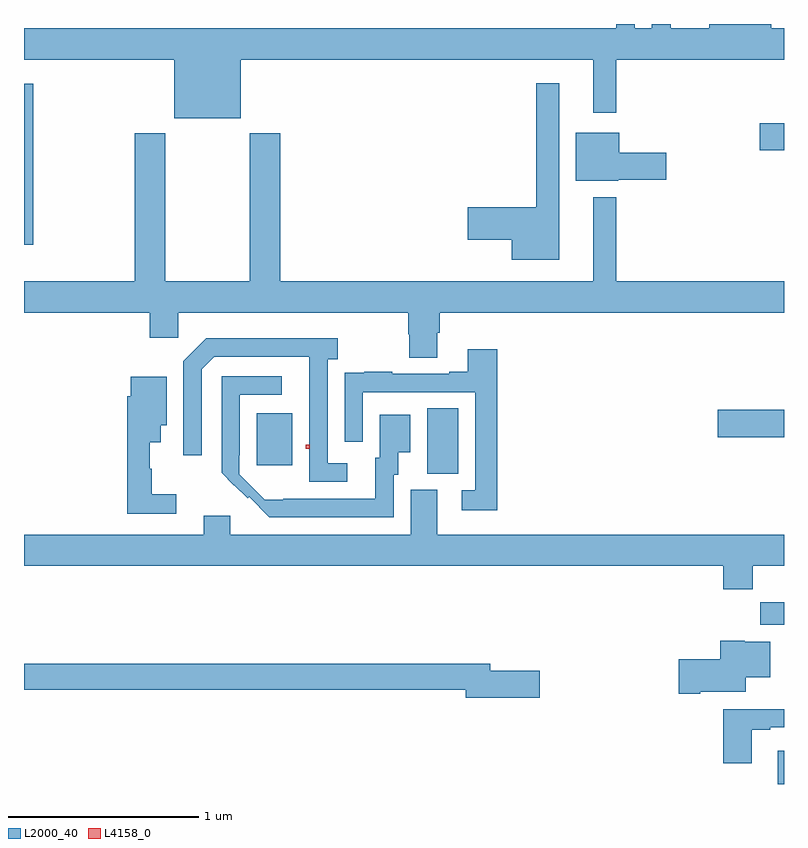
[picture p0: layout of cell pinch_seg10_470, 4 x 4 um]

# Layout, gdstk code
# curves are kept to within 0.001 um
import gdstk
lib = gdstk.Library(unit=1e-6, precision=1e-09)
def R(c, l, rs):  # rectangles x0, y0, x1, y1
    for r in rs: c.add(gdstk.rectangle(r[:2], r[2:], *l))
def P(c, l, *ps):  # polygons
    for p in ps: c.add(gdstk.Polygon(p, *l))
L2000_40 = (2000, 40)
L4158_0 = (4158, 0)

pinch_seg10_470 = lib.new_cell('pinch_seg10_470')
R(pinch_seg10_470, L2000_40, [(363.011,1297.835,363.044,1298.011), (362.92,1298.672,363.044,1298.791), (361.166,1299.469,361.33,1299.812), (360.269,1299.513,360.457,1299.787), (362.694,1299.659,363.044,1299.806), (359.044,1300.674,359.093,1301.521), (362.916,1301.171,363.044,1301.313)])
P(pinch_seg10_470, L2000_40, [(360.184,1301.648),(362.039,1301.648),(362.039,1301.367),(362.161,1301.367),(362.161,1301.648),(363.044,1301.648),(363.044,1301.812),(362.977,1301.812),(362.977,1301.835),(362.651,1301.835),(362.651,1301.812),(362.447,1301.812),(362.447,1301.835),(362.349,1301.835),(362.349,1301.812),(362.259,1301.812),(362.259,1301.835),(362.162,1301.835),(362.162,1301.812),(359.044,1301.812),(359.044,1301.648),(359.834,1301.648),(359.834,1301.339),(360.184,1301.339)],
  [(361.861,1301.524),(361.74,1301.524),(361.74,1300.871),(361.38,1300.871),(361.38,1300.7),(361.61,1300.7),(361.61,1300.595),(361.861,1300.595)],
  [(362.172,1301.015),(362.425,1301.015),(362.425,1301.157),(362.176,1301.157),(362.176,1301.263),(361.949,1301.263),(361.949,1301.009),(362.172,1301.009)],
  [(361.219,1300.21),(361.232,1300.21),(361.232,1300.316),(363.044,1300.316),(363.044,1300.48),(362.161,1300.48),(362.161,1300.924),(362.039,1300.924),(362.039,1300.48),(360.392,1300.48),(360.392,1301.26),(360.232,1301.26),(360.232,1300.48),(359.787,1300.48),(359.787,1301.26),(359.627,1301.26),(359.627,1300.48),(359.044,1300.48),(359.044,1300.316),(359.705,1300.316),(359.705,1300.185),(359.856,1300.185),(359.856,1300.316),(361.067,1300.316),(361.067,1300.203),(361.072,1300.203),(361.072,1300.078),(361.219,1300.078)],
  [(360.745,1299.522),(360.642,1299.522),(360.642,1300.07),(360.694,1300.07),(360.694,1300.18),(360.004,1300.18),(359.883,1300.059),(359.883,1299.564),(359.979,1299.564),(359.979,1300.017),(360.045,1300.083),(360.545,1300.083),(360.546,1299.426),(360.745,1299.426)],
  [(361.535,1300.123),(361.379,1300.123),(361.379,1300.006),(361.283,1300.006),(361.283,1299.993),(360.983,1299.993),(360.983,1300.006),(360.835,1300.006),(360.835,1299.999),(360.733,1299.999),(360.733,1299.89),(360.732,1299.89),(360.732,1299.636),(360.828,1299.636),(360.828,1299.897),(361.419,1299.897),(361.419,1299.381),(361.347,1299.381),(361.347,1299.276),(361.535,1299.276)],
  [(360.99,1299.462),(361.015,1299.462),(361.015,1299.581),(361.078,1299.581),(361.078,1299.778),(360.917,1299.778),(360.917,1299.552),(360.893,1299.552),(360.893,1299.336),(360.409,1299.336),(360.409,1299.33),(360.312,1299.33),(360.177,1299.465),(360.177,1299.565),(360.18,1299.565),(360.18,1299.885),(360.4,1299.885),(360.4,1299.981),(360.084,1299.981),(360.084,1299.473),(360.221,1299.338),(360.229,1299.346),(360.335,1299.24),(360.99,1299.24)],
  [(359.845,1299.359),(359.716,1299.359),(359.716,1299.495),(359.705,1299.495),(359.705,1299.635),(359.764,1299.635),(359.764,1299.722),(359.794,1299.722),(359.794,1299.979),(359.606,1299.979),(359.606,1299.875),(359.587,1299.875),(359.587,1299.258),(359.845,1299.258)],
  [(362.879,1298.984),(363.044,1298.984),(363.044,1299.148),(361.219,1299.148),(361.219,1299.384),(361.079,1299.384),(361.079,1299.148),(360.13,1299.148),(360.13,1299.247),(359.99,1299.247),(359.99,1299.148),(359.044,1299.148),(359.044,1298.984),(362.723,1298.984),(362.723,1298.86),(362.879,1298.86)],
  [(362.602,1298.321),(362.842,1298.321),(362.842,1298.396),(362.971,1298.396),(362.971,1298.584),(362.838,1298.584),(362.838,1298.59),(362.708,1298.59),(362.708,1298.492),(362.49,1298.492),(362.49,1298.309),(362.602,1298.309)],
  [(361.759,1298.432),(361.498,1298.432),(361.498,1298.468),(359.044,1298.468),(359.044,1298.332),(361.37,1298.332),(361.37,1298.29),(361.759,1298.29)],
  [(362.875,1298.121),(362.971,1298.121),(362.971,1298.133),(363.044,1298.133),(363.044,1298.229),(362.723,1298.229),(362.723,1297.944),(362.875,1297.944)])
R(pinch_seg10_470, L4158_0, [(360.527,1299.6,360.547,1299.62)])

lib.write_gds('pinch_seg10_470.gds')
